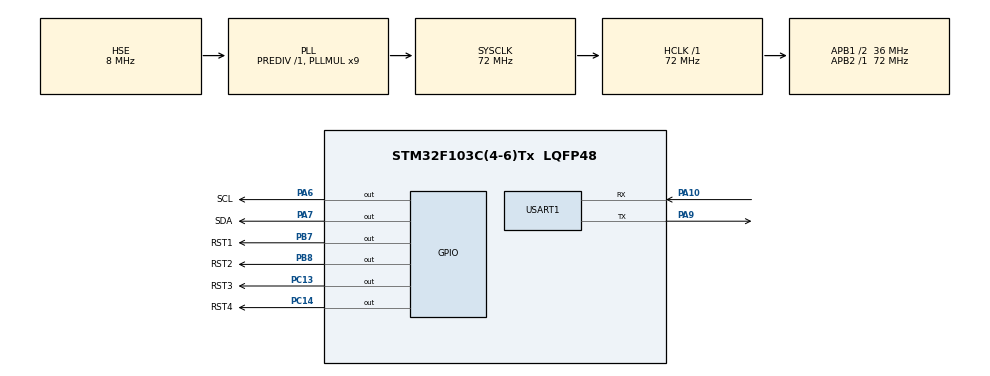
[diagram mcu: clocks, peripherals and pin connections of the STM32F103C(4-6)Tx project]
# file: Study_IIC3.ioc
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Mcu.Family=STM32F1
Mcu.Name=STM32F103C(4-6)Tx
Mcu.Package=LQFP48
NVIC.PriorityGroup=NVIC_PRIORITYGROUP_4
NVIC.USART1_IRQn=true\:0\:0\:false\:false\:true\:true\:true\:true
PA10.Mode=Asynchronous
PA10.Signal=USART1_RX
PA13.Mode=Serial_Wire
PA13.Signal=SYS_JTMS-SWDIO
PA14.Mode=Serial_Wire
PA14.Signal=SYS_JTCK-SWCLK
PA6.GPIO_Label=SCL
PA6.GPIO_ModeDefaultOutputPP=GPIO_MODE_OUTPUT_PP
PA6.GPIO_PuPd=GPIO_PULLUP
PA6.GPIO_Speed=GPIO_SPEED_FREQ_HIGH
PA6.PinState=GPIO_PIN_RESET
PA6.Signal=GPIO_Output
PA7.GPIO_Label=SDA
PA7.GPIO_ModeDefaultOutputPP=GPIO_MODE_OUTPUT_PP
PA7.GPIO_PuPd=GPIO_PULLUP
PA7.GPIO_Speed=GPIO_SPEED_FREQ_HIGH
PA7.PinState=GPIO_PIN_RESET
PA7.Signal=GPIO_Output
PA9.Mode=Asynchronous
PA9.Signal=USART1_TX
PB7.GPIO_Label=RST1
PB7.Signal=GPIO_Output
PB8.GPIO_Label=RST2
PB8.Signal=GPIO_Output
PC13-TAMPER-RTC.GPIO_Label=RST3
PC13-TAMPER-RTC.Signal=GPIO_Output
PC14-OSC32_IN.GPIO_Label=RST4
PC14-OSC32_IN.Signal=GPIO_Output
PD0-OSC_IN.Mode=HSE-External-Oscillator
PD0-OSC_IN.Signal=RCC_OSC_IN
PD1-OSC_OUT.Mode=HSE-External-Oscillator
PD1-OSC_OUT.Signal=RCC_OSC_OUT
ProjectManager.HeapSize=0x200
ProjectManager.StackSize=0x400
ProjectManager.TargetToolchain=STM32CubeIDE
RCC.AHBFreq_Value=72000000
RCC.APB1CLKDivider=RCC_HCLK_DIV2
RCC.APB1Freq_Value=36000000
RCC.APB1TimFreq_Value=72000000
RCC.APB2Freq_Value=72000000
RCC.APB2TimFreq_Value=72000000
RCC.HCLKFreq_Value=72000000
RCC.PLLMUL=RCC_PLL_MUL9
RCC.PLLSourceVirtual=RCC_PLLSOURCE_HSE
RCC.SYSCLKFreq_VALUE=72000000
RCC.SYSCLKSource=RCC_SYSCLKSOURCE_PLLCLK
RCC.USBFreq_Value=72000000
USART1.VirtualMode=VM_ASYNC
board=custom

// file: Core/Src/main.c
/* USER CODE BEGIN Header */
#include <string.h>
/**
  ******************************************************************************
  * @file           : main.c
  * @brief          : Main program body
  ******************************************************************************
  * @attention
  *
  * Copyright (c) 2024 STMicroelectronics.
  * All rights reserved.
  *
  * This software is licensed under terms that can be found in the LICENSE file
  * in the root directory of this software component.
  * If no LICENSE file comes with this software, it is provided AS-IS.
  *
  ******************************************************************************
  */
/* USER CODE END Header */
#include "main.h"
#include "usart.h"
#include "gpio.h"

/* USER CODE BEGIN Includes */
#include <stdio.h>
/* USER CODE END Includes */

/* USER CODE BEGIN PD */
#define FALSE 0
#define TRUE 1

//设置SCL高电平低电平
#define SCL_H HAL_GPIO_WritePin(GPIOA, SCL_Pin, GPIO_PIN_SET)
#define SCL_L HAL_GPIO_WritePin(GPIOA, SCL_Pin, GPIO_PIN_RESET)

//设置SDA高电平低电平
#define SDA_H HAL_GPIO_WritePin(GPIOA, SDA_Pin, GPIO_PIN_SET)
#define SDA_L HAL_GPIO_WritePin(GPIOA, SDA_Pin, GPIO_PIN_RESET)

//调用my_SDA_IN()和my_SDA_OUT()函数
#define SDA_IN()  my_SDA_IN()
#define SDA_OUT() my_SDA_OUT()

//读取SDA线的状态
#define SDA_read HAL_GPIO_ReadPin(GPIOA, SDA_Pin)

//一个8位无符号整数，可能用于表示ADC（模数转换器）的过采样值
uint8_t ADC_OVERSAMP=0xAC;//0xAC 0xB8

//一个16位无符号整数，可能与某种生产范围或量程有关。
uint16_t PRODUCE_RANGE=2;

//双精度浮点数，可能用于表示压力范围
double CAL_L_XKpa=-0.1111;
double CAL_H_XKpa=2.1111;

//一个8位无符号整数，I2C地址，用于与TCA9548A设备通信。
uint8_t ADDR_TCA9548A=0x72; 	//0x70（A0 A1 A2 0）  0x71（A0 1 A1 0 A2 0） 0x72（A0 0 A1 1 A2 0） 0x73（A0 1 A1 1 A2 0）
//一个8位无符号整数，可能用于表示通道号或其他类似的信息
uint8_t chn = 0;

//枚举定义了NSA2300寄存器地址。
enum REG_ADDR
{
	/*Status状态,Data_out1,Data_out2,Data_out3三个数据输出寄存器,
	Temp_out1,Temp_out2两个温度值输出寄存器,CMD,OTP_CMD,Part_ID,
	Sys_config,P_config,T_config1,T_config2,
	DAC_limit,CAL_OTP,Redundancy*/
	Status = 0x02,Data_out1 = 0x06,Data_out2 = 0x07,Data_out3 = 0x08,
	Temp_out1 = 0x09,Temp_out2 = 0x0A,CMD = 0x30,OTP_CMD = 0x6C,Part_ID = 0xA4,
	Sys_config = 0xA5,P_config = 0xA6,T_config1 = 0xA7,T_config2 = 0xA8,
	DAC_limit = 0xA9,CAL_OTP = 0xAA,Redundancy = 0xBC
}reg_addr;
/* USER CODE END PD */

void SystemClock_Config(void);

/* USER CODE BEGIN 0 */
//I2C通信相关函数
void IIC_Init(void);//初始化IIC的IO口
void IIC_Start(void);//发送IIC开始信号
void IIC_Stop(void);//发送IIC停止信号
void IIC_Send_Byte(uint8_t txd);//IIC发送一个字节
uint8_t IIC_Read_Byte(unsigned char ack);//IIC读取一个字节
uint8_t IIC_Wait_Ack(void);//IIC等待ACK信号
void IIC_Ack(void);//IIC发送ACK信号
void IIC_NAck(void);//IIC不发送ACK信号

//tca9548a相关函数
uint8_t func_tca9548a_select(uint8_t chn);
uint8_t func_tca9548a_read_ch(void);
uint8_t func_tca9548a_live(void);
/* USER CODE END 0 */

int main(void)
{

  /* MCU Configuration--------------------------------------------------------*/

  /* Reset of all peripherals, Initializes the Flash interface and the Systick. */
  HAL_Init();

  /* Configure the system clock */
  SystemClock_Config();

  /* Initialize all configured peripherals */
  MX_GPIO_Init();
  MX_USART1_UART_Init();
  /* USER CODE BEGIN 2 */
  //初始化I2C接口并设置了UART1的中断接收
  IIC_Init();
  HAL_UART_Receive_IT(&huart1, (uint8_t *)&RxBuffer, 1);
  /* USER CODE END 2 */

  /* Infinite loop */
  /* USER CODE BEGIN WHILE */
  printf("Init Success\r\n");
  while (1)
  {
	  ProtocolAnalysis();//串口协议
    /* USER CODE END WHILE */

  }
}

void SystemClock_Config(void)
{
  RCC_OscInitTypeDef RCC_OscInitStruct = {0};
  RCC_ClkInitTypeDef RCC_ClkInitStruct = {0};

  /** Initializes the RCC Oscillators according to the specified parameters
  * in the RCC_OscInitTypeDef structure.
  */
  RCC_OscInitStruct.OscillatorType = RCC_OSCILLATORTYPE_HSE;
  RCC_OscInitStruct.HSEState = RCC_HSE_ON;
  RCC_OscInitStruct.HSEPredivValue = RCC_HSE_PREDIV_DIV1;
  RCC_OscInitStruct.HSIState = RCC_HSI_ON;
  RCC_OscInitStruct.PLL.PLLState = RCC_PLL_ON;
  RCC_OscInitStruct.PLL.PLLSource = RCC_PLLSOURCE_HSE;
  RCC_OscInitStruct.PLL.PLLMUL = RCC_PLL_MUL9;
  if (HAL_RCC_OscConfig(&RCC_OscInitStruct) != HAL_OK)
  {
    Error_Handler();
  }

  /** Initializes the CPU, AHB and APB buses clocks
  */
  RCC_ClkInitStruct.ClockType = RCC_CLOCKTYPE_HCLK|RCC_CLOCKTYPE_SYSCLK
                              |RCC_CLOCKTYPE_PCLK1|RCC_CLOCKTYPE_PCLK2;
  RCC_ClkInitStruct.SYSCLKSource = RCC_SYSCLKSOURCE_PLLCLK;
  RCC_ClkInitStruct.AHBCLKDivider = RCC_SYSCLK_DIV1;
  RCC_ClkInitStruct.APB1CLKDivider = RCC_HCLK_DIV2;
  RCC_ClkInitStruct.APB2CLKDivider = RCC_HCLK_DIV1;

  if (HAL_RCC_ClockConfig(&RCC_ClkInitStruct, FLASH_LATENCY_2) != HAL_OK)
  {
    Error_Handler();
  }
}

/* USER CODE BEGIN 4 */
void HAL_usDelay(uint32_t udelay)
{
  uint32_t startval,tickn,delays,wait;

  startval = SysTick->VAL;
  tickn = HAL_GetTick();

  delays =udelay * 72;
  if(delays > startval)
  {
    while(HAL_GetTick() == tickn);
    wait = 72000 + startval - delays;
    while(wait < SysTick->VAL);
  }
  else
  {
    wait = startval - delays;
    while(wait < SysTick->VAL && HAL_GetTick() == tickn);
  }
}

void HAL_msDelay(uint32_t udelay)
{
	uint16_t i = 0;
	for(i = 0;i < udelay;i++)
	{
		HAL_usDelay(1000);
	}
}

//I2C通信
void my_SDA_IN(void)
{
	//
	GPIO_InitTypeDef GPIO_InitStruct= {0};
	GPIO_InitStruct.Pin = SDA_Pin;//PA7
	GPIO_InitStruct.Mode = GPIO_MODE_INPUT;//输入模式
	GPIO_InitStruct.Pull = GPIO_PULLUP;//上拉
	GPIO_InitStruct.Speed = GPIO_SPEED_FREQ_HIGH;
	HAL_GPIO_Init(GPIOA, &GPIO_InitStruct);
}

void my_SDA_OUT(void)
{
	GPIO_InitTypeDef GPIO_InitStruct;
	GPIO_InitStruct.Pin = SDA_Pin;
	GPIO_InitStruct.Mode = GPIO_MODE_OUTPUT_PP;//推挽输出
	GPIO_InitStruct.Pull = GPIO_NOPULL;//禁用上下拉
	GPIO_InitStruct.Speed = GPIO_SPEED_FREQ_HIGH;
	HAL_GPIO_Init(GPIOA, &GPIO_InitStruct);
}

void IIC_Init(void)
{
	SDA_L;
	SCL_L;
//	SDA_H;
//	SCL_H;
}

void IIC_Start(void)
{
	SDA_OUT();
	SDA_H;
	SCL_H;
	HAL_usDelay(5);
 	SDA_L;
 	HAL_usDelay(5);
	SCL_L;
}

void IIC_Stop(void)
{
	SDA_OUT();
	SCL_L;
	SDA_L;
	HAL_usDelay(4);
	SCL_H;
	SDA_H;
	HAL_usDelay(4);
}

//发送数据后，等待应答信号到来
//返回值：1，接收应答失败，IIC直接退出
//        0，接收应答成功，什么都不做
uint8_t IIC_Wait_Ack(void)
{
	uint8_t ucErrTime=0;
	SDA_IN();
	SDA_H;HAL_usDelay(1);
	SCL_H;HAL_usDelay(1);
	while(SDA_read)
	{
		ucErrTime++;
		if(ucErrTime>250)
		{
			IIC_Stop();
			return 1;
		}
	}
	SCL_L;
	return 0;
}

void IIC_Ack(void)
{
	SCL_L;
	SDA_OUT();
	SDA_L;
	HAL_usDelay(2);
	SCL_H;
	HAL_usDelay(2);
	SCL_L;
}

void IIC_NAck(void)
{
	//发送一个NACK（Not Acknowledge）信号
	SCL_L;
	SDA_OUT();
	SDA_H;
	HAL_usDelay(2);
	SCL_H;
	HAL_usDelay(2);
	SCL_L;
}

void IIC_Send_Byte(uint8_t txd)
{
    uint8_t t;
	SDA_OUT();
    SCL_L;
    for(t=0;t<8;t++)//对于要发送字节的每一位执行循环内的操作
    {
		if((txd&0x80)>>7)//与操作检查txd最高位是否为1，将结果右移七位
			SDA_H;//txd最高位是1则拉高
		else
			SDA_L;//txd最低位是0则拉低
		txd<<=1;//左移一位 即移动到下一位
		HAL_usDelay(2);//delay2微秒，确保SDA线在SCL线上升沿之前保持稳定
		SCL_H;
		HAL_usDelay(2);
		SCL_L;
		HAL_usDelay(2);
    }
}

//读1个字节，ack=1时，发送ACK，ack=0，发送nACK
/**
 * @brief 从I²C设备读取一个字节
 *
 * 此函数用于从I²C设备读取一个字节的数据，并根据传入的ack参数决定在读取完成后是否发送应答信号（ACK或NACK）。
 *
 * @param ack 是否在读取后发送应答信号。如果为0，则发送NACK；否则发送ACK。
 *
 * @return 读取到的字节值
 */
uint8_t IIC_Read_Byte(unsigned char ack)
{
	unsigned char i,receive=0;
	SDA_IN();
    for(i=0;i<8;i++ )
	{
        SCL_L;
        HAL_usDelay(2);
		SCL_H;
        receive<<=1;
        if(SDA_read)receive++;
        HAL_usDelay(1);
    }
    if (!ack)
        IIC_NAck();
    else
        IIC_Ack();
    return receive;
}

/**
 * @brief 向I²C设备写入多个字节
 *
 * 此函数用于向I²C设备写入指定数量的字节数据。首先发送设备地址（最低位清零以表示写操作），
 * 然后发送要写入的数据字节，每个字节后都等待设备的应答信号（ACK）。
 * 如果在任何时候收到NACK，则停止写入并返回错误代码。
 *
 * @param address I²C设备的地址（最低位清零表示写操作）
 * @param buf 要写入数据的指针
 * @param count 要写入的字节数
 *
 * @return 成功写入返回0，发生错误返回1
 */
uint8_t IIC_WriteNumByte(uint8_t address, uint8_t *buf, uint8_t count)
{
	unsigned char ack;
	address &=0xFE;
	IIC_Start();
	HAL_usDelay(2);
	IIC_Send_Byte(address);
	HAL_usDelay(2);
	ack=IIC_Wait_Ack();
	if(ack)
	{
		IIC_Stop();
		return 1;
	}

	while(count)
	{
		IIC_Send_Byte(*buf);
		HAL_usDelay(2);

		ack=IIC_Wait_Ack();
		if(ack)
		{
			IIC_Stop();
			return 1;
		}
		buf++;
		count--;
	}
	IIC_Stop();
	return 0;
}

/**
 * @brief 从I²C设备读取多个字节
 *
 * 此函数用于从I²C设备读取指定数量的字节数据。首先发送设备地址（最低位置1表示读操作），
 * 然后循环读取每个字节，并在每个字节读取后（除了最后一个字节）发送ACK应答信号。
 * 读取最后一个字节后，发送NACK信号以表示读取完成。
 *
 * @param address I²C设备的地址（最低位置1表示读操作）
 * @param buf 存储读取数据的缓冲区指针
 * @param count 要读取的字节数
 *
 * @return 成功读取返回0，发生错误返回1
 */
uint8_t IIC_ReadNumByte(uint8_t address, uint8_t *buf, uint8_t count)
{
	unsigned char ack;

	address |= 0x01;
	IIC_Start();
	IIC_Send_Byte(address);
	HAL_usDelay(2);

	ack=IIC_Wait_Ack();
	if(ack)
	{
		IIC_Stop();
		return 1;
	}

	while(count)
	{
		if(count!=1) *buf=IIC_Read_Byte(1);
		else *buf=IIC_Read_Byte(0);
		buf++;
		count--;
	}
	IIC_Stop();
	return 0;
}

/**
 * @brief 向XGZ芯片的指定寄存器写入多个字节
 *
 * 用于向XGZ芯片的某个特定寄存器地址写入多个字节数据。首先发送设备地址（最低位清零表示写操作），
 * 然后发送要写入数据的寄存器地址，接着循环发送要写入的数据字节，并在每个字节后等待设备的应答信号（ACK）。
 * 如果在任何时候收到NACK，则停止写入并返回错误代码。
 *
 * @param address XGZ芯片的地址（最低位清零表示写操作）
 * @param reg_addr 要写入的寄存器地址
 * @param buf 要写入数据的指针
 * @param count 要写入的字节数
 *
 * @return 成功写入返回0，发生错误返回1
 */
uint8_t IIC_WriteNumByte_TE(uint8_t address, uint8_t reg_addr,uint8_t *buf, uint8_t count)
{
	unsigned char ack;

	address &=0xFE;//最后一位

	IIC_Start();
	HAL_usDelay(2);

	IIC_Send_Byte(address);
	HAL_usDelay(2);

	ack=IIC_Wait_Ack();
	if(ack)
	{
		IIC_Stop();
		return 1;
	}

	IIC_Send_Byte(reg_addr);
	HAL_usDelay(2);

	ack=IIC_Wait_Ack();
	if(ack)
	{
		IIC_Stop();
		return 1;
	}

	while(count)
	{
		IIC_Send_Byte(*buf);
		HAL_usDelay(2);

		ack=IIC_Wait_Ack();
		if(ack)
		{
			IIC_Stop();
			return 1;
		}
		buf++;
		count--;
	}

	IIC_Stop();
	return 0;
}

/**
 * @brief 从XGZ芯片的指定寄存器读取多个字节
 *
 * 此函数用于从XGZ芯片的指定寄存器地址中读取多个字节的数据。
 * 它首先发送设备的写地址（最低位清零表示写操作），然后发送要读取数据的寄存器地址。
 * 随后，它再次发送设备的读地址（最低位置1表示读操作）来开始数据读取。
 * 接着，它会循环读取指定数量的字节，并在每个字节读取后（除了最后一个字节）发送ACK应答信号。
 * 读取最后一个字节后，发送NACK信号以表示读取完成。
 *
 * @param address XGZ芯片的地址（在发送写请求时最低位清零，在发送读请求时最低位置1）
 * @param reg_addr 要读取的寄存器地址
 * @param buf 存储读取数据的缓冲区指针
 * @param count 要读取的字节数
 *
 * @return 成功读取返回0，发生错误返回1
 */
uint8_t test_TE(uint8_t address)
{
	unsigned char ack;

	IIC_Start();

	address |= 0x01;

	IIC_Send_Byte(address);
	HAL_usDelay(2);

	ack=IIC_Wait_Ack();
	if(ack)
	{
		IIC_Stop();
		return 1;
	}

	IIC_Stop();
	return 0;
}

uint8_t IIC_ReadNumByte_TE(uint8_t address,uint8_t *buf, uint8_t count)
{
	unsigned char ack;

	IIC_Start();

	address |= 0x01;

	IIC_Send_Byte(address);
	HAL_usDelay(2);

	ack=IIC_Wait_Ack();
	if(ack)
	{
		IIC_Stop();
		return 1;
	}

	while(count)
	{
		if(count!=1) *buf = IIC_Read_Byte(1);
		else *buf=IIC_Read_Byte(0);
		buf++;
		count--;
	}

	IIC_Stop();
	return 0;
}

/**
 * @brief 从设备获取压力和温度数据
 * 从设备读取校准后的压力和温度数据，并将它们存储在提供的指针所指向的变量中。
 * @param press 指向存储压力数据的uint32_t类型变量的指针
 * @param temp 指向存储温度数据的uint32_t类型变量的指针
 * @return 无返回值，但会更新传入的压力和温度指针所指向的变量的值
 */
void M5803_get_cal_TE(uint32_t *press,uint32_t *temp)
{
	uint8_t buffer[4] = {0,0};

	IIC_ReadNumByte_TE(Device_Address,buffer,4);

	// 组合压力数据 高两位status bits设置为00 Normal operation
	*press = ((((uint32_t)buffer[0] << 8) + (uint32_t)buffer[1])) & 0x3fff ;

	// 组合温度数据
	*temp = ((((uint32_t)buffer[2] << 8) + ((uint32_t)buffer[3])) & 0xffe0) >> 5;

}

uint8_t func_tca9548a_select(uint8_t chn)//0~7
{
	IIC_Start();
	IIC_Send_Byte((ADDR_TCA9548A << 1) | 0x00);

	if (IIC_Wait_Ack() != 0)
	{
		goto cmd_fail;
	}

	IIC_Send_Byte(1 << chn);

	if (IIC_Wait_Ack() != 0)
	{
		goto cmd_fail;
	}

	IIC_Stop();
	return 0;
	cmd_fail:
		IIC_Stop();
		return 1;
}

uint8_t func_tca9548a_read_ch(void)
{
	uint8_t res = 0;

	IIC_Start();
	IIC_Send_Byte((ADDR_TCA9548A << 1) | 0x01);

	if (IIC_Wait_Ack() != 0)
	{
		goto cmd_fail;
	}
	res = IIC_Read_Byte(0);

	IIC_NAck();

	IIC_Stop();
	cmd_fail:
		IIC_Stop();
	return res;
}

uint8_t func_tca9548a_live(void)
{
	IIC_Start();
	IIC_Send_Byte((ADDR_TCA9548A << 1) | 0x01);

	if (IIC_Wait_Ack() != 0)
	{
		return 1;
	}
	return 0;
}

/* USER CODE END 4 */

void Error_Handler(void)
{
  __disable_irq();
  while (1)
  {
  }
}
